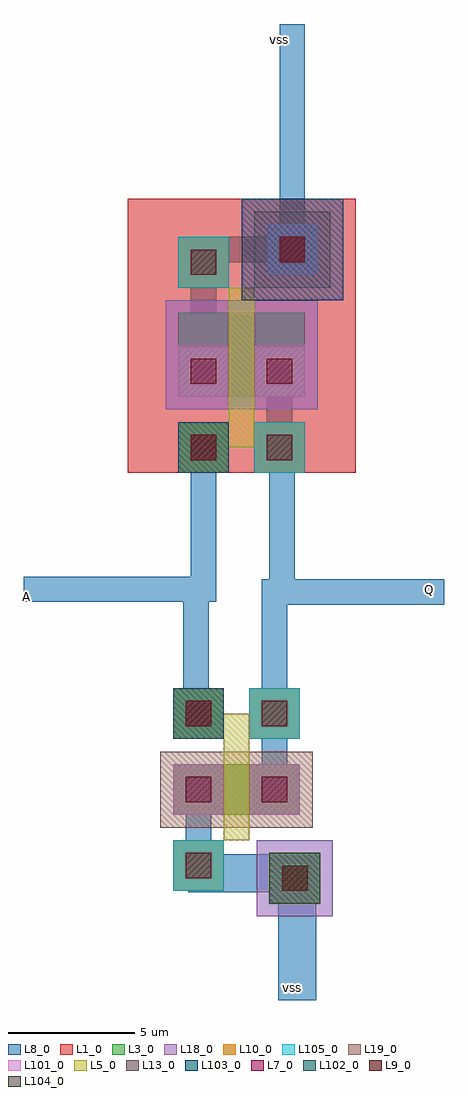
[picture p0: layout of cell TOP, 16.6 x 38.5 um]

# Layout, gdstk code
import gdstk
lib = gdstk.Library(unit=1e-6, precision=1e-07)
def R(c, l, rs):  # rectangles x0, y0, x1, y1
    for r in rs: c.add(gdstk.rectangle(r[:2], r[2:], *l))
L1_0 = (1, 0)
L3_0 = (3, 0)
L5_0 = (5, 0)
L7_0 = (7, 0)
L8_0 = (8, 0)
L9_0 = (9, 0)
L10_0 = (10, 0)
L13_0 = (13, 0)
L18_0 = (18, 0)
L19_0 = (19, 0)
L101_0 = (101, 0)
L102_0 = (102, 0)
L103_0 = (103, 0)
L104_0 = (104, 0)
L105_0 = (105, 0)

dcont = lib.new_cell('dcont')
R(dcont, L3_0, [(-1,-1,1,1)])
R(dcont, L7_0, [(-0.5,-0.5,0.5,0.5)])
R(dcont, L8_0, [(-1,-1,1,1)])
R(dcont, L13_0, [(-0.5,-0.5,0.5,0.5)])
R(dcont, L101_0, [(-1,-1,1,1)])

pcont = lib.new_cell('pcont')
R(pcont, L5_0, [(-1,-1,1,1)])
R(pcont, L7_0, [(-0.5,-0.5,0.5,0.5)])
R(pcont, L8_0, [(-1,-1,1,1)])
R(pcont, L13_0, [(-0.5,-0.5,0.5,0.5)])
R(pcont, L102_0, [(-1,-1,1,1)])

via = lib.new_cell('Via')
R(via, L8_0, [(-1,-1,1,1)])
R(via, L9_0, [(-0.5,-0.5,0.5,0.5)])
R(via, L10_0, [(-1,-1,1,1)])
R(via, L13_0, [(-0.5,-0.5,0.5,0.5)])
R(via, L105_0, [(-1,-1,1,1)])

dcont1 = lib.new_cell('dcont1')
R(dcont1, L3_0, [(-1,-1,1,1)])
R(dcont1, L7_0, [(-0.5,-0.5,0.5,0.5)])
R(dcont1, L8_0, [(-1,-1,1,1)])
R(dcont1, L13_0, [(-0.5,-0.5,0.5,0.5)])
R(dcont1, L101_0, [(-1,-1,1,1)])

nsubcont = lib.new_cell('nsubcont')
R(nsubcont, L1_0, [(-2,-2,2,2)])
R(nsubcont, L19_0, [(-1.5,-1.5,1.5,1.5)])
R(nsubcont, L103_0, [(-2,-2,2,2)])
nsubcont.add(gdstk.Reference(dcont1, (0,0)))

pch_1 = lib.new_cell('Pch$1')
R(pch_1, L1_0, [(-2,0,7,10.8)])
R(pch_1, L3_0, [(0,3,5,6.3)])
R(pch_1, L18_0, [(-0.5,2.5,5.5,6.8)])
pch_1.add(gdstk.FlexPath([(1,3),(1,6.3)], 2, ends="flush", simple_path=True, layer=8, datatype=0))  # L8_0
pch_1.add(gdstk.FlexPath([(4,3),(4,6.3)], 2, ends="flush", simple_path=True, layer=8, datatype=0))  # L8_0
pch_1.add(gdstk.FlexPath([(1,5.3),(1,8.3)], 1, ends="flush", simple_path=True, layer=8, datatype=0))  # L8_0
pch_1.add(gdstk.FlexPath([(4,1),(4,4)], 1, ends="flush", simple_path=True, layer=8, datatype=0))  # L8_0
pch_1.add(gdstk.FlexPath([(2.5,3),(2.5,6.3)], 1, ends=(1, 1), simple_path=True, layer=5, datatype=0))  # L5_0
pch_1.add(gdstk.FlexPath([(1,1.5),(2.5,1.5),(2.5,2)], 1, ends="flush", simple_path=True, layer=5, datatype=0))  # L5_0
pch_1.add(gdstk.Reference(dcont, (1,4)))
pch_1.add(gdstk.Reference(dcont, (4,4)))
pch_1.add(gdstk.Reference(pcont, (1,1)))
pch_1.add(gdstk.Reference(via, (1,1)))
pch_1.add(gdstk.Reference(via, (1,8.3)))
pch_1.add(gdstk.Reference(via, (4,1)))
pch_1.add(gdstk.Reference(nsubcont, (4.5,8.8)))
pch_1.add(gdstk.Reference(via, (4.5,8.8)))

psubcont = lib.new_cell('psubcont')
R(psubcont, L18_0, [(-1.5,-1.5,1.5,1.5)])
R(psubcont, L104_0, [(-1,-1,1,1)])
psubcont.add(gdstk.Reference(dcont1, (0,0)))

nch_1 = lib.new_cell('Nch$1')
R(nch_1, L3_0, [(0,3,5,5)])
R(nch_1, L19_0, [(-0.5,2.5,5.5,5.5)])
nch_1.add(gdstk.FlexPath([(1,3),(1,5)], 2, ends="flush", simple_path=True, layer=8, datatype=0))  # L8_0
nch_1.add(gdstk.FlexPath([(4,3),(4,5)], 2, ends="flush", simple_path=True, layer=8, datatype=0))  # L8_0
nch_1.add(gdstk.FlexPath([(1,1),(1,4)], 1, ends="flush", simple_path=True, layer=8, datatype=0))  # L8_0
nch_1.add(gdstk.FlexPath([(4,4),(4,7)], 1, ends="flush", simple_path=True, layer=8, datatype=0))  # L8_0
nch_1.add(gdstk.FlexPath([(2.5,3),(2.5,5)], 1, ends=(1, 1), simple_path=True, layer=5, datatype=0))  # L5_0
nch_1.add(gdstk.FlexPath([(1,6.5),(2.5,6.5),(2.5,6)], 1, ends="flush", simple_path=True, layer=5, datatype=0))  # L5_0
nch_1.add(gdstk.Reference(dcont, (1,4)))
nch_1.add(gdstk.Reference(dcont, (4,4)))
nch_1.add(gdstk.Reference(pcont, (1,7)))
nch_1.add(gdstk.Reference(via, (1,7)))
nch_1.add(gdstk.Reference(via, (1,1)))
nch_1.add(gdstk.Reference(via, (4,7)))
nch_1.add(gdstk.Reference(psubcont, (4.8,0.5)))
nch_1.add(gdstk.Reference(via, (4.8,0.5)))

top = lib.new_cell('TOP')
top.add(gdstk.FlexPath([(-3,14.1),(-3,14.8),(-3,15)], 1, ends="flush", simple_path=True, layer=8, datatype=0))  # L8_0
top.add(gdstk.FlexPath([(-3.5,14.5),(1,14.5)], 1, ends="flush", simple_path=True, layer=8, datatype=0))  # L8_0
top.add(gdstk.FlexPath([(0.5,14),(0.5,23.4)], 1, ends="flush", simple_path=True, layer=8, datatype=0))  # L8_0
top.add(gdstk.FlexPath([(0.1,6.6),(0.1,1)], 1, ends="flush", simple_path=True, layer=8, datatype=0))  # L8_0
top.add(gdstk.FlexPath([(-0.7,1),(6.5,1)], 1, ends="flush", simple_path=True, layer=8, datatype=0))  # L8_0
top.add(gdstk.FlexPath([(-0.2,-4),(-0.2,1.4)], 1, ends="flush", simple_path=True, layer=8, datatype=0))  # L8_0
top.add(gdstk.FlexPath([(-3.3,-4.7),(-3.3,1.6)], 1, ends="flush", simple_path=True, layer=8, datatype=0))  # L8_0
top.add(gdstk.FlexPath([(-3,7.2),(-3,0.6)], 1, ends="flush", simple_path=True, layer=8, datatype=0))  # L8_0
top.add(gdstk.FlexPath([(-2.5,1.1),(-10.1,1.1)], 1, ends="flush", simple_path=True, layer=8, datatype=0))  # L8_0
top.add(gdstk.FlexPath([(-3.6,-10.1),(0.9,-10.1)], 1.5, ends="flush", simple_path=True, layer=8, datatype=0))  # L8_0
top.add(gdstk.FlexPath([(0.7,-10.1),(0.7,-15.1)], 1.5, ends="flush", simple_path=True, layer=8, datatype=0))  # L8_0
top.add(gdstk.Reference(pch_1, (-4,5.7)))
top.add(gdstk.Reference(nch_1, (-4.2,-10.8)))
top.add(gdstk.Label('Q', (5.9,1.1), layer=8, texttype=0))
top.add(gdstk.Label('vss', (0.5,-14.6), layer=8, texttype=0))
top.add(gdstk.Label('A', (-10,0.8), layer=8, texttype=0))
top.add(gdstk.Label('vss', (0,22.8), layer=8, texttype=0))

lib.write_gds('TOP.gds')
